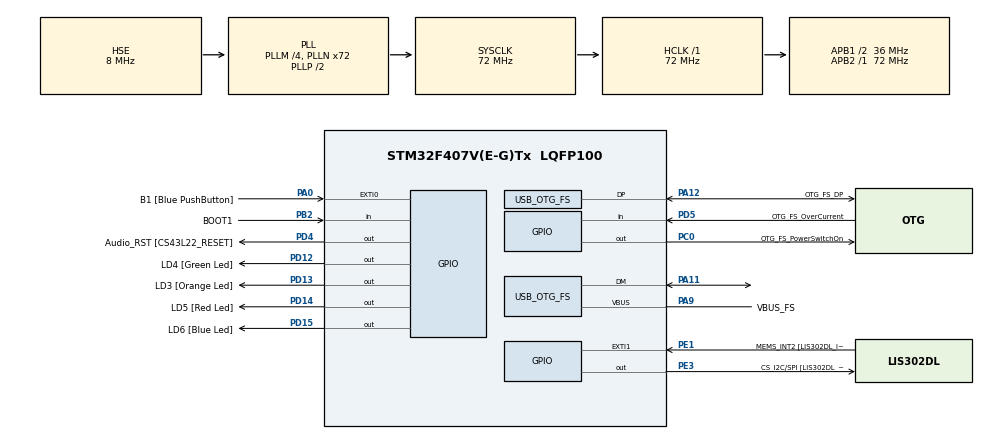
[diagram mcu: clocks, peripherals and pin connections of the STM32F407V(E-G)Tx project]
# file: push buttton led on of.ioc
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Mcu.Family=STM32F4
Mcu.Name=STM32F407V(E-G)Tx
Mcu.Package=LQFP100
NVIC.OTG_FS_IRQn=true\:0\:0\:false\:false\:true\:false\:true
NVIC.PriorityGroup=NVIC_PRIORITYGROUP_0
PA0-WKUP.GPIO_Label=B1 [Blue PushButton]
PA0-WKUP.Signal=GPXTI0
PA10.GPIO_Label=OTG_FS_ID
PA10.GPIO_Mode=GPIO_MODE_AF_PP
PA10.GPIO_PuPd=GPIO_NOPULL
PA10.GPIO_Speed=GPIO_SPEED_FREQ_LOW
PA10.Signal=USB_OTG_FS_ID
PA11.Mode=Device_Only
PA11.Signal=USB_OTG_FS_DM
PA12.GPIO_Label=OTG_FS_DP
PA12.GPIO_Mode=GPIO_MODE_AF_PP
PA12.GPIO_PuPd=GPIO_NOPULL
PA12.GPIO_Speed=GPIO_SPEED_FREQ_LOW
PA12.Mode=Device_Only
PA12.Signal=USB_OTG_FS_DP
PA13.GPIO_Label=SWDIO
PA13.Signal=SYS_JTMS-SWDIO
PA14.GPIO_Label=SWCLK
PA14.Signal=SYS_JTCK-SWCLK
PA4.GPIO_Label=I2S3_WS [CS43L22_LRCK]
PA4.GPIO_Mode=GPIO_MODE_AF_PP
PA4.GPIO_PuPd=GPIO_NOPULL
PA4.GPIO_Speed=GPIO_SPEED_FREQ_LOW
PA4.Signal=I2S3_WS
PA5.GPIO_Label=SPI1_SCK [LIS302DL_SCL/SPC]
PA5.GPIO_Mode=GPIO_MODE_AF_PP
PA5.GPIO_PuPd=GPIO_NOPULL
PA5.GPIO_Speed=GPIO_SPEED_FREQ_LOW
PA5.Signal=SPI1_SCK
PA6.GPIO_Label=SPI1_MISO [LIS302DL_SDO]
PA6.GPIO_Mode=GPIO_MODE_AF_PP
PA6.GPIO_PuPd=GPIO_NOPULL
PA6.GPIO_Speed=GPIO_SPEED_FREQ_LOW
PA6.Signal=SPI1_MISO
PA7.GPIO_Label=SPI1_MOSI [LIS302DL_SDA/SDI/SDO]
PA7.GPIO_Mode=GPIO_MODE_AF_PP
PA7.GPIO_PuPd=GPIO_NOPULL
PA7.GPIO_Speed=GPIO_SPEED_FREQ_LOW
PA7.Signal=SPI1_MOSI
PA9.GPIO_Label=VBUS_FS
PA9.GPIO_Mode=GPIO_MODE_INPUT
PA9.GPIO_PuPd=GPIO_NOPULL
PA9.Mode=Activate_VBUS
PA9.Signal=USB_OTG_FS_VBUS
PB10.GPIO_Label=CLK_IN [MP45DT02_CLK]
PB10.GPIO_Mode=GPIO_MODE_AF_PP
PB10.GPIO_PuPd=GPIO_NOPULL
PB10.GPIO_Speed=GPIO_SPEED_FREQ_LOW
PB10.Signal=I2S2_CK
PB2.GPIO_Label=BOOT1
PB2.GPIO_Mode=GPIO_MODE_INPUT
PB2.GPIO_PuPd=GPIO_NOPULL
PB2.Signal=GPIO_Input
PB3.GPIO_Label=SWO
PB3.Signal=SYS_JTDO-SWO
PB6.GPIO_Label=Audio_SCL [CS43L22_SCL]
PB6.GPIO_Mode=GPIO_MODE_AF_OD
PB6.GPIO_PuPd=GPIO_NOPULL
PB6.GPIO_Speed=GPIO_SPEED_FREQ_LOW
PB6.Signal=I2C1_SCL
PB9.GPIO_Label=Audio_SDA [CS43L22_SDA]
PB9.GPIO_Mode=GPIO_MODE_AF_OD
PB9.GPIO_PuPd=GPIO_NOPULL
PB9.GPIO_Speed=GPIO_SPEED_FREQ_LOW
PB9.Signal=I2C1_SDA
PC0.GPIO_Label=OTG_FS_PowerSwitchOn
PC0.GPIO_PuPd=GPIO_NOPULL
PC0.GPIO_Speed=GPIO_SPEED_FREQ_LOW
PC0.PinState=GPIO_PIN_SET
PC0.Signal=GPIO_Output
PC10.GPIO_Label=I2S3_SCK [CS43L22_SCLK]
PC10.GPIO_Mode=GPIO_MODE_AF_PP
PC10.GPIO_PuPd=GPIO_NOPULL
PC10.GPIO_Speed=GPIO_SPEED_FREQ_LOW
PC10.Signal=I2S3_CK
PC12.GPIO_Label=I2S3_SD [CS43L22_SDIN]
PC12.GPIO_Mode=GPIO_MODE_AF_PP
PC12.GPIO_PuPd=GPIO_NOPULL
PC12.GPIO_Speed=GPIO_SPEED_FREQ_LOW
PC12.Signal=I2S3_SD
PC14-OSC32_IN.GPIO_Label=PC14-OSC32_IN
PC14-OSC32_IN.Signal=RCC_OSC32_IN
PC15-OSC32_OUT.GPIO_Label=PC15-OSC32_OUT
PC15-OSC32_OUT.Signal=RCC_OSC32_OUT
PC3.GPIO_Label=PDM_OUT [MP45DT02_DOUT]
PC3.GPIO_Mode=GPIO_MODE_AF_PP
PC3.GPIO_PuPd=GPIO_NOPULL
PC3.GPIO_Speed=GPIO_SPEED_FREQ_LOW
PC3.Signal=I2S2_SD
PC7.GPIO_Label=I2S3_MCK [CS43L22_MCLK]
PC7.GPIO_Mode=GPIO_MODE_AF_PP
PC7.GPIO_PuPd=GPIO_NOPULL
PC7.GPIO_Speed=GPIO_SPEED_FREQ_LOW
PC7.Signal=I2S3_MCK
PD12.GPIO_Label=LD4 [Green Led]
PD12.GPIO_PuPd=GPIO_NOPULL
PD12.GPIO_Speed=GPIO_SPEED_FREQ_LOW
PD12.Signal=GPIO_Output
PD13.GPIO_Label=LD3 [Orange Led]
PD13.GPIO_PuPd=GPIO_NOPULL
PD13.GPIO_Speed=GPIO_SPEED_FREQ_LOW
PD13.Signal=GPIO_Output
PD14.GPIO_Label=LD5 [Red Led]
PD14.GPIO_PuPd=GPIO_NOPULL
PD14.GPIO_Speed=GPIO_SPEED_FREQ_LOW
PD14.Signal=GPIO_Output
PD15.GPIO_Label=LD6 [Blue Led]
PD15.GPIO_PuPd=GPIO_NOPULL
PD15.GPIO_Speed=GPIO_SPEED_FREQ_LOW
PD15.Signal=GPIO_Output
PD4.GPIO_Label=Audio_RST [CS43L22_RESET]
PD4.GPIO_PuPd=GPIO_NOPULL
PD4.GPIO_Speed=GPIO_SPEED_FREQ_LOW
PD4.Signal=GPIO_Output
PD5.GPIO_Label=OTG_FS_OverCurrent
PD5.GPIO_Mode=GPIO_MODE_INPUT
PD5.GPIO_PuPd=GPIO_NOPULL
PD5.Signal=GPIO_Input
PE1.GPIO_Label=MEMS_INT2 [LIS302DL_INT2]
PE1.GPIO_ModeDefaultEXTI=GPIO_MODE_EVT_RISING
PE1.GPIO_PuPd=GPIO_NOPULL
PE1.Signal=GPXTI1
PE3.GPIO_Label=CS_I2C/SPI [LIS302DL_CS_I2C/SPI]
PE3.GPIO_PuPd=GPIO_NOPULL
PE3.GPIO_Speed=GPIO_SPEED_FREQ_LOW
PE3.Signal=GPIO_Output
PH0-OSC_IN.GPIO_Label=PH0-OSC_IN
PH0-OSC_IN.Mode=HSE-External-Oscillator
PH0-OSC_IN.Signal=RCC_OSC_IN
PH1-OSC_OUT.GPIO_Label=PH1-OSC_OUT
PH1-OSC_OUT.Mode=HSE-External-Oscillator
PH1-OSC_OUT.Signal=RCC_OSC_OUT
ProjectManager.HeapSize=0x200
ProjectManager.StackSize=0x400
ProjectManager.TargetToolchain=STM32CubeIDE
RCC.48MHZClocksFreq_Value=48000000
RCC.AHBFreq_Value=72000000
RCC.APB1CLKDivider=RCC_HCLK_DIV2
RCC.APB1Freq_Value=36000000
RCC.APB1TimFreq_Value=72000000
RCC.APB2Freq_Value=72000000
RCC.APB2TimFreq_Value=72000000
RCC.CortexFreq_Value=72000000
RCC.HCLKFreq_Value=72000000
RCC.HSE_VALUE=8000000
RCC.HSI_VALUE=16000000
RCC.LSE_VALUE=32768
RCC.PLLM=4
RCC.PLLN=72
RCC.PLLQ=3
RCC.SYSCLKFreq_VALUE=72000000
RCC.SYSCLKSource=RCC_SYSCLKSOURCE_PLLCLK
RCC.VCOOutputFreq_Value=144000000
USB_DEVICE.CLASS_NAME_FS=CDC
USB_DEVICE.VirtualMode-CDC_FS=Cdc
USB_DEVICE.VirtualModeFS=Cdc_FS
USB_OTG_FS.VirtualMode=Device_Only
VP_USB_DEVICE_VS_USB_DEVICE_CDC_FS.Mode=CDC_FS
board=STM32F407G-DISC1

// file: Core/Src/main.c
/* USER CODE BEGIN Header */
/**
  ******************************************************************************
  * @file           : main.c
  * @brief          : Main program body
  ******************************************************************************
  * @attention
  *
  * Copyright (c) 2022 STMicroelectronics.
  * All rights reserved.
  *
  * This software is licensed under terms that can be found in the LICENSE file
  * in the root directory of this software component.
  * If no LICENSE file comes with this software, it is provided AS-IS.
  *
  ******************************************************************************
  */
/* USER CODE END Header */
#include "main.h"
#include "usb_device.h"

void SystemClock_Config(void);
static void MX_GPIO_Init(void);

int main(void)
{

  /* MCU Configuration--------------------------------------------------------*/

  /* Reset of all peripherals, Initializes the Flash interface and the Systick. */
  HAL_Init();

  /* USER CODE BEGIN Init */

  /* REGİSTERS SET */
  RCC->AHB1ENR &=~(0X0);// ahb1 reset
  RCC->AHB1ENR |= 1<<0;	// gpio A enabled FOR PUSH BUTTON
  RCC->AHB1ENR |= 1<<3;	//GPIO D ENABLED FOR LED

  GPIOA->MODER &= (0XA8<<6*4);	//RESET
  GPIOD->MODER &= 0X0;		//reset

  GPIOA->MODER |= 0X0;  // SET AS İNPUT A0=0
  GPIOD->MODER |= (1<<12*2);
  GPIOD->MODER |= (1<<13*2);
  GPIOD->MODER |= (1<<14*2);
  GPIOD->MODER |= (1<<15*2);
  // line(86/89) set as output

  /* USER CODE END Init */

  /* Configure the system clock */
  SystemClock_Config();

  /* Initialize all configured peripherals */
  MX_GPIO_Init();
  MX_USB_DEVICE_Init();

  /* Infinite loop */
  /* USER CODE BEGIN WHILE */
  while (1)
  {
	  if((GPIOA->IDR & 0x1)==1)
	  {
		  GPIOD->ODR |= (1<<(12));//D12 HİGH
		  GPIOD->ODR |= (1<<13);// D13 HİGH
		  GPIOD->ODR |= (1<<14);//D14 HİGH
		  GPIOD->ODR |= (1<<15);//D15 HİGH
	  }
	  else
	  {
		  GPIOD->ODR &= ~(1<<(12));//D12 LOW
		  GPIOD->ODR &= ~(1<<13);// D13 LOW
		  GPIOD->ODR &= ~(1<<14);//D14 LOW
		  GPIOD->ODR &= ~(1<<15);//D15 LOW
	  }
    /* USER CODE END WHILE */

  }
}

void SystemClock_Config(void)
{
  RCC_OscInitTypeDef RCC_OscInitStruct = {0};
  RCC_ClkInitTypeDef RCC_ClkInitStruct = {0};

  /** Configure the main internal regulator output voltage
  */
  __HAL_RCC_PWR_CLK_ENABLE();
  __HAL_PWR_VOLTAGESCALING_CONFIG(PWR_REGULATOR_VOLTAGE_SCALE1);
  /** Initializes the RCC Oscillators according to the specified parameters
  * in the RCC_OscInitTypeDef structure.
  */
  RCC_OscInitStruct.OscillatorType = RCC_OSCILLATORTYPE_HSE;
  RCC_OscInitStruct.HSEState = RCC_HSE_ON;
  RCC_OscInitStruct.PLL.PLLState = RCC_PLL_ON;
  RCC_OscInitStruct.PLL.PLLSource = RCC_PLLSOURCE_HSE;
  RCC_OscInitStruct.PLL.PLLM = 4;
  RCC_OscInitStruct.PLL.PLLN = 72;
  RCC_OscInitStruct.PLL.PLLP = RCC_PLLP_DIV2;
  RCC_OscInitStruct.PLL.PLLQ = 3;
  if (HAL_RCC_OscConfig(&RCC_OscInitStruct) != HAL_OK)
  {
    Error_Handler();
  }
  /** Initializes the CPU, AHB and APB buses clocks
  */
  RCC_ClkInitStruct.ClockType = RCC_CLOCKTYPE_HCLK|RCC_CLOCKTYPE_SYSCLK
                              |RCC_CLOCKTYPE_PCLK1|RCC_CLOCKTYPE_PCLK2;
  RCC_ClkInitStruct.SYSCLKSource = RCC_SYSCLKSOURCE_PLLCLK;
  RCC_ClkInitStruct.AHBCLKDivider = RCC_SYSCLK_DIV1;
  RCC_ClkInitStruct.APB1CLKDivider = RCC_HCLK_DIV2;
  RCC_ClkInitStruct.APB2CLKDivider = RCC_HCLK_DIV1;

  if (HAL_RCC_ClockConfig(&RCC_ClkInitStruct, FLASH_LATENCY_2) != HAL_OK)
  {
    Error_Handler();
  }
}

static void MX_GPIO_Init(void)
{
  GPIO_InitTypeDef GPIO_InitStruct = {0};

  /* GPIO Ports Clock Enable */
  __HAL_RCC_GPIOE_CLK_ENABLE();
  __HAL_RCC_GPIOC_CLK_ENABLE();
  __HAL_RCC_GPIOH_CLK_ENABLE();
  __HAL_RCC_GPIOA_CLK_ENABLE();
  __HAL_RCC_GPIOB_CLK_ENABLE();
  __HAL_RCC_GPIOD_CLK_ENABLE();

  /*Configure GPIO pin Output Level */
  HAL_GPIO_WritePin(CS_I2C_SPI_GPIO_Port, CS_I2C_SPI_Pin, GPIO_PIN_RESET);

  /*Configure GPIO pin Output Level */
  HAL_GPIO_WritePin(OTG_FS_PowerSwitchOn_GPIO_Port, OTG_FS_PowerSwitchOn_Pin, GPIO_PIN_SET);

  /*Configure GPIO pin Output Level */
  HAL_GPIO_WritePin(GPIOD, LD4_Pin|LD3_Pin|LD5_Pin|LD6_Pin
                          |Audio_RST_Pin, GPIO_PIN_RESET);

  /*Configure GPIO pin : CS_I2C_SPI_Pin */
  GPIO_InitStruct.Pin = CS_I2C_SPI_Pin;
  GPIO_InitStruct.Mode = GPIO_MODE_OUTPUT_PP;
  GPIO_InitStruct.Pull = GPIO_NOPULL;
  GPIO_InitStruct.Speed = GPIO_SPEED_FREQ_LOW;
  HAL_GPIO_Init(CS_I2C_SPI_GPIO_Port, &GPIO_InitStruct);

  /*Configure GPIO pin : OTG_FS_PowerSwitchOn_Pin */
  GPIO_InitStruct.Pin = OTG_FS_PowerSwitchOn_Pin;
  GPIO_InitStruct.Mode = GPIO_MODE_OUTPUT_PP;
  GPIO_InitStruct.Pull = GPIO_NOPULL;
  GPIO_InitStruct.Speed = GPIO_SPEED_FREQ_LOW;
  HAL_GPIO_Init(OTG_FS_PowerSwitchOn_GPIO_Port, &GPIO_InitStruct);

  /*Configure GPIO pin : PDM_OUT_Pin */
  GPIO_InitStruct.Pin = PDM_OUT_Pin;
  GPIO_InitStruct.Mode = GPIO_MODE_AF_PP;
  GPIO_InitStruct.Pull = GPIO_NOPULL;
  GPIO_InitStruct.Speed = GPIO_SPEED_FREQ_LOW;
  GPIO_InitStruct.Alternate = GPIO_AF5_SPI2;
  HAL_GPIO_Init(PDM_OUT_GPIO_Port, &GPIO_InitStruct);

  /*Configure GPIO pin : B1_Pin */
  GPIO_InitStruct.Pin = B1_Pin;
  GPIO_InitStruct.Mode = GPIO_MODE_IT_RISING;
  GPIO_InitStruct.Pull = GPIO_NOPULL;
  HAL_GPIO_Init(B1_GPIO_Port, &GPIO_InitStruct);

  /*Configure GPIO pin : I2S3_WS_Pin */
  GPIO_InitStruct.Pin = I2S3_WS_Pin;
  GPIO_InitStruct.Mode = GPIO_MODE_AF_PP;
  GPIO_InitStruct.Pull = GPIO_NOPULL;
  GPIO_InitStruct.Speed = GPIO_SPEED_FREQ_LOW;
  GPIO_InitStruct.Alternate = GPIO_AF6_SPI3;
  HAL_GPIO_Init(I2S3_WS_GPIO_Port, &GPIO_InitStruct);

  /*Configure GPIO pins : SPI1_SCK_Pin SPI1_MISO_Pin SPI1_MOSI_Pin */
  GPIO_InitStruct.Pin = SPI1_SCK_Pin|SPI1_MISO_Pin|SPI1_MOSI_Pin;
  GPIO_InitStruct.Mode = GPIO_MODE_AF_PP;
  GPIO_InitStruct.Pull = GPIO_NOPULL;
  GPIO_InitStruct.Speed = GPIO_SPEED_FREQ_LOW;
  GPIO_InitStruct.Alternate = GPIO_AF5_SPI1;
  HAL_GPIO_Init(GPIOA, &GPIO_InitStruct);

  /*Configure GPIO pin : BOOT1_Pin */
  GPIO_InitStruct.Pin = BOOT1_Pin;
  GPIO_InitStruct.Mode = GPIO_MODE_INPUT;
  GPIO_InitStruct.Pull = GPIO_NOPULL;
  HAL_GPIO_Init(BOOT1_GPIO_Port, &GPIO_InitStruct);

  /*Configure GPIO pin : CLK_IN_Pin */
  GPIO_InitStruct.Pin = CLK_IN_Pin;
  GPIO_InitStruct.Mode = GPIO_MODE_AF_PP;
  GPIO_InitStruct.Pull = GPIO_NOPULL;
  GPIO_InitStruct.Speed = GPIO_SPEED_FREQ_LOW;
  GPIO_InitStruct.Alternate = GPIO_AF5_SPI2;
  HAL_GPIO_Init(CLK_IN_GPIO_Port, &GPIO_InitStruct);

  /*Configure GPIO pins : LD4_Pin LD3_Pin LD5_Pin LD6_Pin
                           Audio_RST_Pin */
  GPIO_InitStruct.Pin = LD4_Pin|LD3_Pin|LD5_Pin|LD6_Pin
                          |Audio_RST_Pin;
  GPIO_InitStruct.Mode = GPIO_MODE_OUTPUT_PP;
  GPIO_InitStruct.Pull = GPIO_NOPULL;
  GPIO_InitStruct.Speed = GPIO_SPEED_FREQ_LOW;
  HAL_GPIO_Init(GPIOD, &GPIO_InitStruct);

  /*Configure GPIO pins : I2S3_MCK_Pin I2S3_SCK_Pin I2S3_SD_Pin */
  GPIO_InitStruct.Pin = I2S3_MCK_Pin|I2S3_SCK_Pin|I2S3_SD_Pin;
  GPIO_InitStruct.Mode = GPIO_MODE_AF_PP;
  GPIO_InitStruct.Pull = GPIO_NOPULL;
  GPIO_InitStruct.Speed = GPIO_SPEED_FREQ_LOW;
  GPIO_InitStruct.Alternate = GPIO_AF6_SPI3;
  HAL_GPIO_Init(GPIOC, &GPIO_InitStruct);

  /*Configure GPIO pin : OTG_FS_OverCurrent_Pin */
  GPIO_InitStruct.Pin = OTG_FS_OverCurrent_Pin;
  GPIO_InitStruct.Mode = GPIO_MODE_INPUT;
  GPIO_InitStruct.Pull = GPIO_NOPULL;
  HAL_GPIO_Init(OTG_FS_OverCurrent_GPIO_Port, &GPIO_InitStruct);

  /*Configure GPIO pins : Audio_SCL_Pin Audio_SDA_Pin */
  GPIO_InitStruct.Pin = Audio_SCL_Pin|Audio_SDA_Pin;
  GPIO_InitStruct.Mode = GPIO_MODE_AF_OD;
  GPIO_InitStruct.Pull = GPIO_NOPULL;
  GPIO_InitStruct.Speed = GPIO_SPEED_FREQ_LOW;
  GPIO_InitStruct.Alternate = GPIO_AF4_I2C1;
  HAL_GPIO_Init(GPIOB, &GPIO_InitStruct);

  /*Configure GPIO pin : MEMS_INT2_Pin */
  GPIO_InitStruct.Pin = MEMS_INT2_Pin;
  GPIO_InitStruct.Mode = GPIO_MODE_EVT_RISING;
  GPIO_InitStruct.Pull = GPIO_NOPULL;
  HAL_GPIO_Init(MEMS_INT2_GPIO_Port, &GPIO_InitStruct);

}

void Error_Handler(void)
{
  __disable_irq();
  while (1)
  {
  }
}
